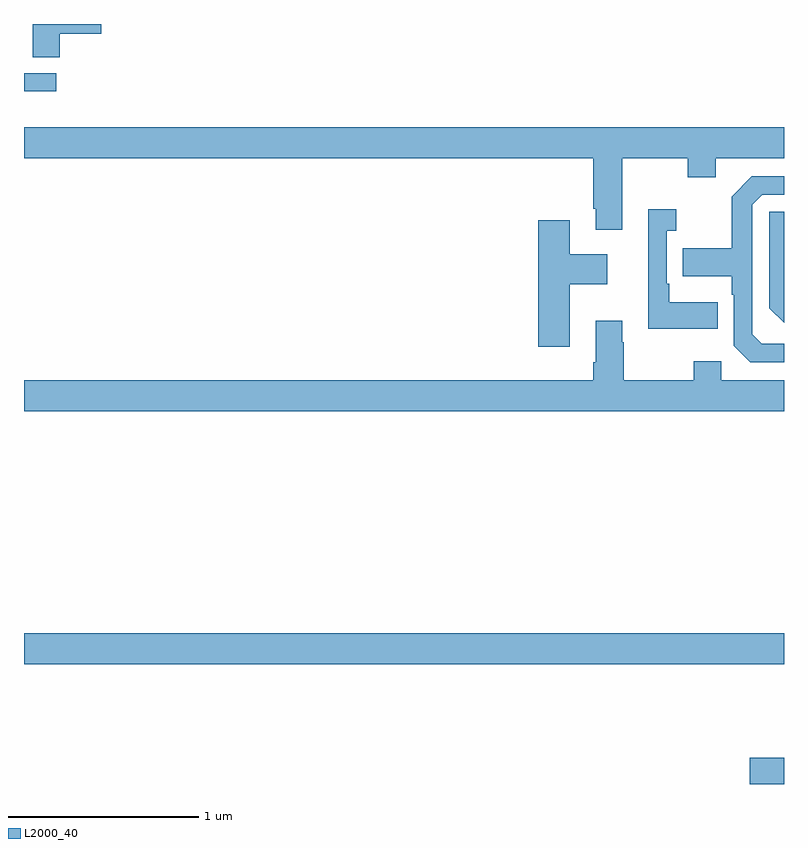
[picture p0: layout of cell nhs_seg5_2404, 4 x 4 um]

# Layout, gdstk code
import gdstk
lib = gdstk.Library(unit=1e-6, precision=1e-09)
def R(c, l, rs):  # rectangles x0, y0, x1, y1
    for r in rs: c.add(gdstk.rectangle(r[:2], r[2:], *l))
def P(c, l, *ps):  # polygons
    for p in ps: c.add(gdstk.Polygon(p, *l))
L2000_40 = (2000, 40)

nhs_seg5_2404 = lib.new_cell('nhs_seg5_2404')
R(nhs_seg5_2404, L2000_40, [(254.82,854.799,255,854.936), (251,855.428,255,855.592), (251,858.444,251.17,858.54)])
P(nhs_seg5_2404, L2000_40, [(251.189,858.749),(251.407,858.749),(251.407,858.799),(251.045,858.799),(251.045,858.625),(251.189,858.625)],
  [(254.149,858.092),(254.494,858.092),(254.494,857.993),(254.641,857.993),(254.641,858.092),(255,858.092),(255,858.256),(251,858.256),(251,858.092),(253.997,858.092),(253.997,857.827),(254.009,857.827),(254.009,857.715),(254.149,857.715)],
  [(255,857.115),(254.883,857.115),(254.832,857.166),(254.832,857.847),(254.886,857.901),(255,857.901),(255,857.997),(254.829,857.997),(254.724,857.891),(254.724,857.619),(254.467,857.619),(254.467,857.471),(254.724,857.471),(254.724,857.375),(254.736,857.375),(254.736,857.106),(254.823,857.019),(255,857.019)],
  [(254.651,857.335),(254.395,857.335),(254.395,857.431),(254.382,857.431),(254.382,857.711),(254.434,857.711),(254.434,857.824),(254.285,857.824),(254.285,857.195),(254.651,857.195)],
  [(255,857.811),(254.922,857.811),(254.922,857.304),(255,857.226)],
  [(253.873,857.429),(254.071,857.429),(254.071,857.587),(253.873,857.587),(253.873,857.767),(253.706,857.767),(253.706,857.1),(253.873,857.1)],
  [(255,856.924),(254.67,856.924),(254.67,857.023),(254.524,857.023),(254.524,856.924),(254.157,856.924),(254.157,857.123),(254.149,857.123),(254.149,857.236),(254.009,857.236),(254.009,857.02),(253.997,857.02),(253.997,856.924),(251,856.924),(251,856.76),(255,856.76)])

lib.write_gds('nhs_seg5_2404.gds')
